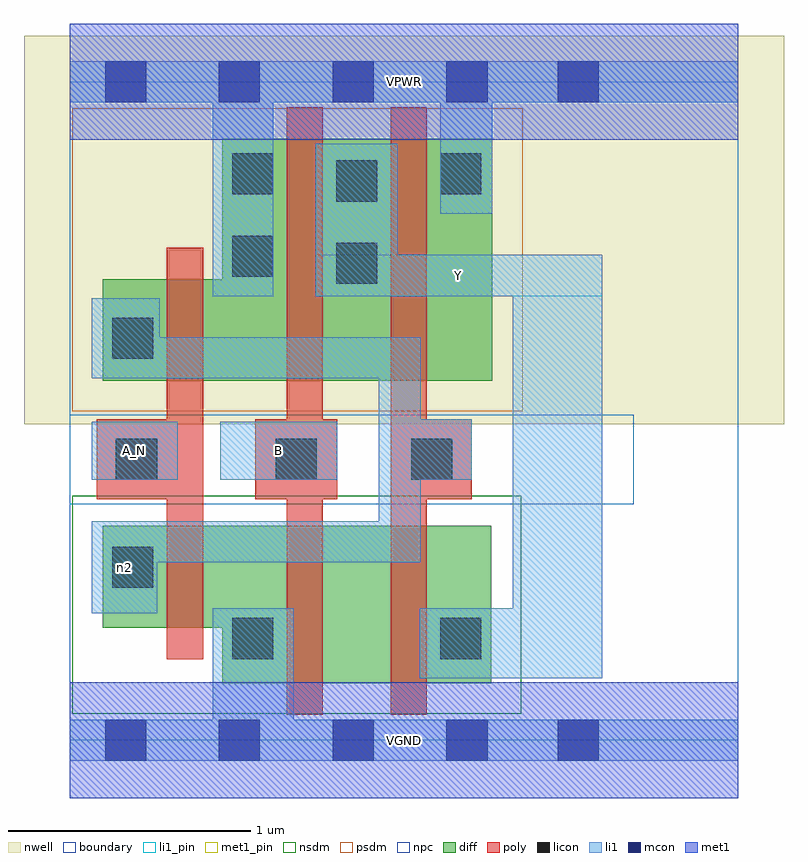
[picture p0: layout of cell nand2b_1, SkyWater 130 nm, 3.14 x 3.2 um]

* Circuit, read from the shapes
.subckt nand2b_1 A_N B VGND VPWR Y n2
XM1 VGND A_N n2 VSUBS sky130_fd_pr__nfet_01v8 w=0.42 l=0.15
XM2 n1 B VGND VSUBS sky130_fd_pr__nfet_01v8 w=0.65 l=0.15
XM3 Y n2 n1 VSUBS sky130_fd_pr__nfet_01v8 w=0.65 l=0.15
XM4 VPWR A_N n2 n3 sky130_fd_pr__pfet_01v8 w=0.42 l=0.15
XM5 Y B VPWR n3 sky130_fd_pr__pfet_01v8 w=1 l=0.15
XM6 VPWR n2 Y n3 sky130_fd_pr__pfet_01v8 w=1 l=0.15
.ends

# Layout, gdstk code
import gdstk
lib = gdstk.Library(unit=1e-6, precision=1e-09)
def R(c, l, rs):  # rectangles x0, y0, x1, y1
    for r in rs: c.add(gdstk.rectangle(r[:2], r[2:], *l))
def A(c, l, x, y, w, h, nx, ny, dx, dy):  # array of equal rectangles
    R(c, l, [(x+i*dx, y+j*dy, x+i*dx+w, y+j*dy+h) for i in range(nx) for j in range(ny)])
nwell = (64, 20)
diff = (65, 20)
poly = (66, 20)
licon = (66, 44)
li1_pin = (67, 16)
li1 = (67, 20)
mcon = (67, 44)
met1_pin = (68, 16)
met1 = (68, 20)
nsdm = (93, 44)
psdm = (94, 20)
npc = (95, 20)
boundary = (235, 4)

nand2b_1 = lib.new_cell('nand2b_1')
R(nand2b_1, nwell, [(-0.19,1.305,2.95,2.91), (0,1.305,2.76,2.91)])
R(nand2b_1, diff, [(0.63,0.235,1.74,0.885), (0.135,0.465,1.74,0.885), (0.135,1.485,1.745,1.905), (0.63,1.485,1.745,2.485)])
R(nand2b_1, poly, [(0.895,0.105,1.045,2.615), (1.325,0.105,1.475,2.615), (0.4,0.335,0.55,2.035), (0.11,0.995,0.55,1.325), (0.765,0.995,1.105,1.325), (1.325,0.995,1.66,1.325)])
R(nand2b_1, licon, [(0.67,0.335,0.84,0.505), (1.53,0.335,1.7,0.505), (0.175,0.63,0.345,0.8), (0.19,1.075,0.36,1.245), (0.85,1.075,1.02,1.245), (1.41,1.075,1.58,1.245), (0.175,1.575,0.345,1.745), (1.1,1.885,1.27,2.055), (0.67,1.915,0.84,2.085), (1.1,2.225,1.27,2.395), (0.67,2.255,0.84,2.425), (1.53,2.255,1.7,2.425)])
R(nand2b_1, li1_pin, [(0.09,1.075,0.445,1.315), (0.62,1.075,1.105,1.315), (1.015,1.835,2.2,2.005)])
R(nand2b_1, li1, [(0,-0.085,2.76,0.085), (0.59,-0.085,0.925,0.545), (1.445,0.255,2.2,0.545), (1.83,0.255,2.2,2.005), (0.09,0.525,0.36,0.905), (0.09,0.735,1.45,0.905), (1.275,0.735,1.45,1.665), (0.09,1.075,0.445,1.315), (0.62,1.075,1.105,1.315), (1.275,1.075,1.66,1.325), (0.09,1.495,1.45,1.665), (0.09,1.495,0.37,1.825), (0.59,1.835,0.84,2.805), (1.015,1.835,1.355,2.465), (1.015,1.835,2.2,2.005), (1.53,2.175,1.745,2.805), (0,2.635,2.76,2.805)])
A(nand2b_1, mcon, 0.145, -0.085, 0.17, 0.17, 4, 2, 0.47, 2.72)
R(nand2b_1, mcon, [(2.015,-0.085,2.185,0.085), (2.015,2.635,2.185,2.805)])
R(nand2b_1, met1_pin, [(0,-0.24,2.76,0.24), (0,2.48,2.76,2.96)])
R(nand2b_1, met1, [(0,-0.24,2.76,0.24), (0,2.48,2.76,2.96)])
R(nand2b_1, nsdm, [(0.01,0.11,1.865,1.01)])
R(nand2b_1, psdm, [(0.01,1.36,1.87,2.61)])
R(nand2b_1, npc, [(0,0.975,2.33,1.345)])
R(nand2b_1, boundary, [(0,0,2.76,2.72)])
nand2b_1.add(gdstk.Label('A_N', (0.267,1.195), layer=67, texttype=5))
nand2b_1.add(gdstk.Label('B', (0.862,1.195), layer=67, texttype=5))
nand2b_1.add(gdstk.Label('Y', (1.607,1.92), layer=67, texttype=5))
nand2b_1.add(gdstk.Label('n2', (0.225,0.715), layer=67, texttype=5))
nand2b_1.add(gdstk.Label('VPWR', (1.38,2.72), layer=68, texttype=5))
nand2b_1.add(gdstk.Label('VGND', (1.38,0), layer=68, texttype=5))
nand2b_1.add(gdstk.Label('A_N', (0.267,1.195), layer=67, texttype=16))
nand2b_1.add(gdstk.Label('B', (0.862,1.195), layer=67, texttype=16))
nand2b_1.add(gdstk.Label('Y', (1.607,1.92), layer=67, texttype=16))
nand2b_1.add(gdstk.Label('VPWR', (1.38,2.72), layer=68, texttype=16))
nand2b_1.add(gdstk.Label('VGND', (1.38,0), layer=68, texttype=16))

lib.write_gds('nand2b_1.gds')
